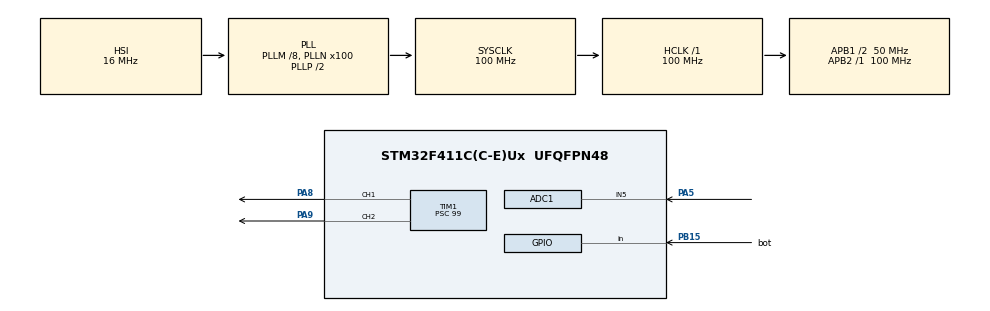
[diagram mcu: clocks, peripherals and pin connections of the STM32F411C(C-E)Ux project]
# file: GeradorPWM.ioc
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ADC1.Channel-1\#ChannelRegularConversion=ADC_CHANNEL_5
ADC1.ContinuousConvMode=ENABLE
ADC1.DMAContinuousRequests=ENABLE
ADC1.EnableAnalogWatchDog=false
ADC1.NbrOfConversion=1
ADC1.NbrOfConversionFlag=1
ADC1.Rank-1\#ChannelRegularConversion=1
ADC1.SamplingTime-1\#ChannelRegularConversion=ADC_SAMPLETIME_480CYCLES
ADC1.ScanConvMode=ENABLE
ADC1.master=1
Dma.ADC1.0.Direction=DMA_PERIPH_TO_MEMORY
Dma.ADC1.0.FIFOMode=DMA_FIFOMODE_DISABLE
Dma.ADC1.0.Instance=DMA2_Stream0
Dma.ADC1.0.MemDataAlignment=DMA_MDATAALIGN_HALFWORD
Dma.ADC1.0.MemInc=DMA_MINC_ENABLE
Dma.ADC1.0.Mode=DMA_CIRCULAR
Dma.ADC1.0.PeriphDataAlignment=DMA_PDATAALIGN_HALFWORD
Dma.ADC1.0.PeriphInc=DMA_PINC_DISABLE
Dma.ADC1.0.Priority=DMA_PRIORITY_LOW
Dma.Request0=ADC1
Mcu.Family=STM32F4
Mcu.Name=STM32F411C(C-E)Ux
Mcu.Package=UFQFPN48
NVIC.ADC_IRQn=true\:0\:0\:false\:false\:true\:true\:true\:true
NVIC.DMA2_Stream0_IRQn=true\:0\:0\:false\:false\:true\:false\:true\:true
NVIC.PriorityGroup=NVIC_PRIORITYGROUP_4
NVIC.TIM1_UP_TIM10_IRQn=true\:0\:0\:false\:false\:true\:true\:true\:true
PA5.Signal=ADCx_IN5
PA8.Signal=S_TIM1_CH1
PA9.Signal=S_TIM1_CH2
PB15.GPIO_Label=bot
PB15.GPIO_PuPd=GPIO_PULLUP
PB15.Signal=GPIO_Input
ProjectManager.HeapSize=0x200
ProjectManager.StackSize=0x400
ProjectManager.TargetToolchain=CMake
RCC.48MHZClocksFreq_Value=50000000
RCC.AHBFreq_Value=100000000
RCC.APB1CLKDivider=RCC_HCLK_DIV2
RCC.APB1Freq_Value=50000000
RCC.APB1TimFreq_Value=100000000
RCC.APB2Freq_Value=100000000
RCC.APB2TimFreq_Value=100000000
RCC.CortexFreq_Value=100000000
RCC.HCLKFreq_Value=100000000
RCC.HSE_VALUE=25000000
RCC.HSI_VALUE=16000000
RCC.LSE_VALUE=32768
RCC.PLLM=8
RCC.PLLN=100
RCC.SYSCLKFreq_VALUE=100000000
RCC.SYSCLKSource=RCC_SYSCLKSOURCE_PLLCLK
RCC.VCOOutputFreq_Value=200000000
SH.ADCx_IN5.0=ADC1_IN5,IN5
SH.S_TIM1_CH1.0=TIM1_CH1,PWM Generation1 CH1
SH.S_TIM1_CH2.0=TIM1_CH2,PWM Generation2 CH2
TIM1.AutoReloadPreload=TIM_AUTORELOAD_PRELOAD_ENABLE
TIM1.Channel-PWM\ Generation1\ CH1=TIM_CHANNEL_1
TIM1.Channel-PWM\ Generation2\ CH2=TIM_CHANNEL_2
TIM1.OCIdleState_1=TIM_OCIDLESTATE_SET
TIM1.OCIdleState_2=TIM_OCIDLESTATE_SET
TIM1.Period=999
TIM1.Prescaler=99
TIM1.TIM_MasterOutputTrigger=TIM_TRGO_OC4REF
VP_TIM1_VS_ClockSourceINT.Mode=Internal
board=custom

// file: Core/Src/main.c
/* USER CODE BEGIN Header */
/**
  ******************************************************************************
  * @file           : main.c
  * @brief          : Rotina de mapeamento de Vds (Back-EMF) por degraus de PWM
  ******************************************************************************
  */
/* USER CODE END Header */
#include "main.h"

/* USER CODE BEGIN PD */
#define MAX(a,b) (((a)>(b))?(a):(b))
#define MAP(x, in_min, in_max, out_min, out_max) (((x) - (in_min)) * ((out_max) - (out_min)) / ((in_max) - (in_min)) + (out_min))
#define ADC_MAX_VAL 4095

// Parâmetros do Mapeamento
#define DUTY_MIN_TESTE  10   // Começa em 10%
#define DUTY_MAX_TESTE  80   // Vai até 80% (compatível com pwm_max = 200). Mude para 100 se desejar ir até 100%
#define PASSO_DUTY      5    // Sobe de 5% em 5%
#define NUM_PONTOS      (((DUTY_MAX_TESTE - DUTY_MIN_TESTE) / PASSO_DUTY) + 1)
/* USER CODE END PD */

ADC_HandleTypeDef hadc1;
DMA_HandleTypeDef hdma_adc1;

TIM_HandleTypeDef htim1;

/* USER CODE BEGIN PV */
uint8_t estado_botao_anterior = 1; // GPIO_PULLUP (1 = solto, 0 = apertado)
volatile uint16_t valores_adc[1];  // Recebe a leitura contínua do Canal 5 (PA5) via DMA

// Matriz de armazenamento:
// Coluna [0] = % do Duty Cycle (10, 15, 20...)
// Coluna [1] = Valor bruto do ADC lido no Vds (0 a 4095)
// Coluna [2] = Valor normalizado (0 a 1000), igual ao código principal
volatile uint16_t matriz_mapeamento[NUM_PONTOS][3];

volatile uint8_t mapeamento_concluido = 0;
/* USER CODE END PV */

void SystemClock_Config(void);
static void MX_GPIO_Init(void);
static void MX_DMA_Init(void);
static void MX_TIM1_Init(void);
static void MX_ADC1_Init(void);
/* USER CODE BEGIN PFP */
void executar_mapeamento_vds(void);
void desliga_motores(void);
/* USER CODE END PFP */

/* USER CODE BEGIN 0 */

/**
  * @brief Desliga os MOSFETs (Lógica invertida do Totem-Pole: CCR = 1000 -> Pino 3.3V -> MOSFET OFF)
  */
void desliga_motores(void)
{
    __HAL_TIM_SET_COMPARE(&htim1, TIM_CHANNEL_1, 1000);
    __HAL_TIM_SET_COMPARE(&htim1, TIM_CHANNEL_2, 1000);
}

/**
  * @brief Executa a rampa de 10% até DUTY_MAX_TESTE em passos de 5%,
  *        aguardando 3s por degrau e interrompendo por 6ms para ler Vds.
  */
void executar_mapeamento_vds(void)
{
    uint8_t indice = 0;
    mapeamento_concluido = 0;

    for (uint16_t duty = DUTY_MIN_TESTE; duty <= DUTY_MAX_TESTE; duty += PASSO_DUTY)
    {
        // 1. Converte a % de Duty Cycle (0 a 100%) para a escala invertida do Timer (ARR = 999)
        // Exemplo: 10% de duty -> pulso ativo de 100 ticks -> CCR = 1000 - 100 = 900
        uint16_t ccr_invertido = 1000 - (duty * 10);

        // Aplica o PWM nos canais 1 e 2
        __HAL_TIM_SET_COMPARE(&htim1, TIM_CHANNEL_1, ccr_invertido);
        __HAL_TIM_SET_COMPARE(&htim1, TIM_CHANNEL_2, ccr_invertido);

        // 2. Aguarda 3 segundos para estabilizar a rotação e permitir leitura no tacômetro
        HAL_Delay(3000);

        // 3. Interrupção de 6 ms: Corta o PWM (abre o MOSFET) para a corrente de roda livre zerar
        desliga_motores();
        HAL_Delay(6);

        // 4. Medição do Vds ao final dos 6 ms (com o motor atuando como gerador e antes de religar o PWM)
        uint16_t leitura_adc_bruta = valores_adc[0];
        uint16_t leitura_normalizada = MAP(leitura_adc_bruta, 0, ADC_MAX_VAL, 0, 1000);

        // 5. Armazena na matriz
        if (indice < NUM_PONTOS)
        {
            matriz_mapeamento[indice][0] = duty;                // % Duty Cycle
            matriz_mapeamento[indice][1] = leitura_adc_bruta;   // ADC Bruto (0 - 4095)
            matriz_mapeamento[indice][2] = leitura_normalizada; // Escala (0 - 1000)
            indice++;
        }
    }

    // Fim do ensaio: garante que o motor pare com segurança
    desliga_motores();

    // COLOQUE SEU BREAKPOINT DO DEBUG AQUI PARA LER A MATRIZ NO VS CODE!
    mapeamento_concluido = 1;
}

/* USER CODE END 0 */

int main(void)
{

  /* MCU Configuration--------------------------------------------------------*/
  HAL_Init();

  /* Configure the system clock */
  SystemClock_Config();

  /* Initialize all configured peripherals */
  MX_GPIO_Init();
  MX_DMA_Init();
  MX_TIM1_Init();
  MX_ADC1_Init();

  /* USER CODE BEGIN 2 */
  // Garante que o motor comece desligado (CCR = 1000) antes de ligar os canais PWM
  desliga_motores();

  HAL_TIM_PWM_Start(&htim1, TIM_CHANNEL_1);
  HAL_TIM_PWM_Start(&htim1, TIM_CHANNEL_2);
  HAL_ADC_Start_DMA(&hadc1, (uint32_t*)valores_adc, 1);
  /* USER CODE END 2 */

  /* Infinite loop */
  while (1)
  {

    /* USER CODE BEGIN 3 */
    // Aguarda o clique no botão para iniciar a bateria de testes de mapeamento
    uint8_t leitura_botao = HAL_GPIO_ReadPin(bot_GPIO_Port, bot_Pin);

    if (leitura_botao == 0 && estado_botao_anterior == 1)
    {
        HAL_Delay(50); // Debounce inicial
        if (HAL_GPIO_ReadPin(bot_GPIO_Port, bot_Pin) == 0)
        {
            // Inicia a rotina automática de mapeamento
            executar_mapeamento_vds();
        }
    }
    estado_botao_anterior = leitura_botao;

    HAL_Delay(10);
  }
  /* USER CODE END 3 */
}
void SystemClock_Config(void)
{
  RCC_OscInitTypeDef RCC_OscInitStruct = {0};
  RCC_ClkInitTypeDef RCC_ClkInitStruct = {0};

  /** Configure the main internal regulator output voltage
  */
  __HAL_RCC_PWR_CLK_ENABLE();
  __HAL_PWR_VOLTAGESCALING_CONFIG(PWR_REGULATOR_VOLTAGE_SCALE1);

  /** Initializes the RCC Oscillators according to the specified parameters
  * in the RCC_OscInitTypeDef structure.
  */
  RCC_OscInitStruct.OscillatorType = RCC_OSCILLATORTYPE_HSI;
  RCC_OscInitStruct.HSIState = RCC_HSI_ON;
  RCC_OscInitStruct.HSICalibrationValue = RCC_HSICALIBRATION_DEFAULT;
  RCC_OscInitStruct.PLL.PLLState = RCC_PLL_ON;
  RCC_OscInitStruct.PLL.PLLSource = RCC_PLLSOURCE_HSI;
  RCC_OscInitStruct.PLL.PLLM = 8;
  RCC_OscInitStruct.PLL.PLLN = 100;
  RCC_OscInitStruct.PLL.PLLP = RCC_PLLP_DIV2;
  RCC_OscInitStruct.PLL.PLLQ = 4;
  if (HAL_RCC_OscConfig(&RCC_OscInitStruct) != HAL_OK)
  {
    Error_Handler();
  }

  /** Initializes the CPU, AHB and APB buses clocks
  */
  RCC_ClkInitStruct.ClockType = RCC_CLOCKTYPE_HCLK|RCC_CLOCKTYPE_SYSCLK
                              |RCC_CLOCKTYPE_PCLK1|RCC_CLOCKTYPE_PCLK2;
  RCC_ClkInitStruct.SYSCLKSource = RCC_SYSCLKSOURCE_PLLCLK;
  RCC_ClkInitStruct.AHBCLKDivider = RCC_SYSCLK_DIV1;
  RCC_ClkInitStruct.APB1CLKDivider = RCC_HCLK_DIV2;
  RCC_ClkInitStruct.APB2CLKDivider = RCC_HCLK_DIV1;

  if (HAL_RCC_ClockConfig(&RCC_ClkInitStruct, FLASH_LATENCY_3) != HAL_OK)
  {
    Error_Handler();
  }
}

static void MX_ADC1_Init(void)
{

  ADC_ChannelConfTypeDef sConfig = {0};

  /** Configure the global features of the ADC (Clock, Resolution, Data Alignment and number of conversion)
  */
  hadc1.Instance = ADC1;
  hadc1.Init.ClockPrescaler = ADC_CLOCK_SYNC_PCLK_DIV4;
  hadc1.Init.Resolution = ADC_RESOLUTION_12B;
  hadc1.Init.ScanConvMode = ENABLE;
  hadc1.Init.ContinuousConvMode = ENABLE;
  hadc1.Init.DiscontinuousConvMode = DISABLE;
  hadc1.Init.ExternalTrigConvEdge = ADC_EXTERNALTRIGCONVEDGE_NONE;
  hadc1.Init.ExternalTrigConv = ADC_SOFTWARE_START;
  hadc1.Init.DataAlign = ADC_DATAALIGN_RIGHT;
  hadc1.Init.NbrOfConversion = 1;
  hadc1.Init.DMAContinuousRequests = ENABLE;
  hadc1.Init.EOCSelection = ADC_EOC_SINGLE_CONV;
  if (HAL_ADC_Init(&hadc1) != HAL_OK)
  {
    Error_Handler();
  }

  /** Configure for the selected ADC regular channel its corresponding rank in the sequencer and its sample time.
  */
  sConfig.Channel = ADC_CHANNEL_5;
  sConfig.Rank = 1;
  sConfig.SamplingTime = ADC_SAMPLETIME_480CYCLES;
  if (HAL_ADC_ConfigChannel(&hadc1, &sConfig) != HAL_OK)
  {
    Error_Handler();
  }

}

static void MX_TIM1_Init(void)
{

  TIM_ClockConfigTypeDef sClockSourceConfig = {0};
  TIM_MasterConfigTypeDef sMasterConfig = {0};
  TIM_OC_InitTypeDef sConfigOC = {0};
  TIM_BreakDeadTimeConfigTypeDef sBreakDeadTimeConfig = {0};

  htim1.Instance = TIM1;
  htim1.Init.Prescaler = 99;
  htim1.Init.CounterMode = TIM_COUNTERMODE_UP;
  htim1.Init.Period = 999;
  htim1.Init.ClockDivision = TIM_CLOCKDIVISION_DIV1;
  htim1.Init.RepetitionCounter = 0;
  htim1.Init.AutoReloadPreload = TIM_AUTORELOAD_PRELOAD_ENABLE;
  if (HAL_TIM_Base_Init(&htim1) != HAL_OK)
  {
    Error_Handler();
  }
  sClockSourceConfig.ClockSource = TIM_CLOCKSOURCE_INTERNAL;
  if (HAL_TIM_ConfigClockSource(&htim1, &sClockSourceConfig) != HAL_OK)
  {
    Error_Handler();
  }
  if (HAL_TIM_PWM_Init(&htim1) != HAL_OK)
  {
    Error_Handler();
  }
  sMasterConfig.MasterOutputTrigger = TIM_TRGO_OC4REF;
  sMasterConfig.MasterSlaveMode = TIM_MASTERSLAVEMODE_DISABLE;
  if (HAL_TIMEx_MasterConfigSynchronization(&htim1, &sMasterConfig) != HAL_OK)
  {
    Error_Handler();
  }
  sConfigOC.OCMode = TIM_OCMODE_PWM1;
  sConfigOC.Pulse = 0;
  sConfigOC.OCPolarity = TIM_OCPOLARITY_HIGH;
  sConfigOC.OCNPolarity = TIM_OCNPOLARITY_HIGH;
  sConfigOC.OCFastMode = TIM_OCFAST_DISABLE;
  sConfigOC.OCIdleState = TIM_OCIDLESTATE_SET;
  sConfigOC.OCNIdleState = TIM_OCNIDLESTATE_RESET;
  if (HAL_TIM_PWM_ConfigChannel(&htim1, &sConfigOC, TIM_CHANNEL_1) != HAL_OK)
  {
    Error_Handler();
  }
  if (HAL_TIM_PWM_ConfigChannel(&htim1, &sConfigOC, TIM_CHANNEL_2) != HAL_OK)
  {
    Error_Handler();
  }
  sBreakDeadTimeConfig.OffStateRunMode = TIM_OSSR_DISABLE;
  sBreakDeadTimeConfig.OffStateIDLEMode = TIM_OSSI_DISABLE;
  sBreakDeadTimeConfig.LockLevel = TIM_LOCKLEVEL_OFF;
  sBreakDeadTimeConfig.DeadTime = 0;
  sBreakDeadTimeConfig.BreakState = TIM_BREAK_DISABLE;
  sBreakDeadTimeConfig.BreakPolarity = TIM_BREAKPOLARITY_HIGH;
  sBreakDeadTimeConfig.AutomaticOutput = TIM_AUTOMATICOUTPUT_DISABLE;
  if (HAL_TIMEx_ConfigBreakDeadTime(&htim1, &sBreakDeadTimeConfig) != HAL_OK)
  {
    Error_Handler();
  }
  HAL_TIM_MspPostInit(&htim1);

}

static void MX_DMA_Init(void)
{

  /* DMA controller clock enable */
  __HAL_RCC_DMA2_CLK_ENABLE();

  /* DMA interrupt init */
  /* DMA2_Stream0_IRQn interrupt configuration */
  HAL_NVIC_SetPriority(DMA2_Stream0_IRQn, 0, 0);
  HAL_NVIC_EnableIRQ(DMA2_Stream0_IRQn);

}

static void MX_GPIO_Init(void)
{
  GPIO_InitTypeDef GPIO_InitStruct = {0};

  /* GPIO Ports Clock Enable */
  __HAL_RCC_GPIOA_CLK_ENABLE();
  __HAL_RCC_GPIOB_CLK_ENABLE();

  /*Configure GPIO pin : bot_Pin */
  GPIO_InitStruct.Pin = bot_Pin;
  GPIO_InitStruct.Mode = GPIO_MODE_INPUT;
  GPIO_InitStruct.Pull = GPIO_PULLUP;
  HAL_GPIO_Init(bot_GPIO_Port, &GPIO_InitStruct);

}

void Error_Handler(void)
{
  __disable_irq();
  while (1)
  {
  }
}
